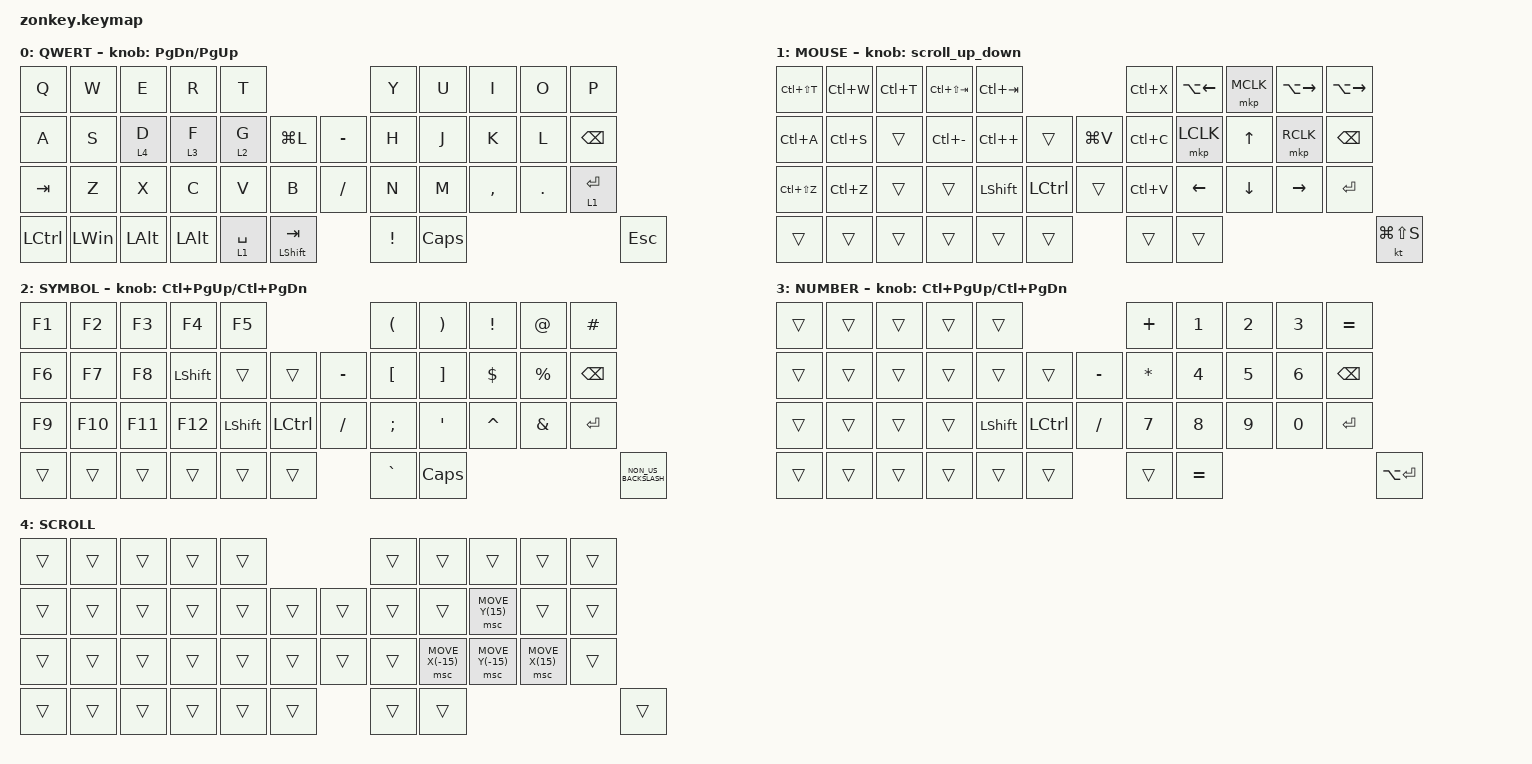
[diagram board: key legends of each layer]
#include <physical_layouts.dtsi>
#include <behaviors.dtsi>
#include <dt-bindings/zmk/keys.h>
#include <dt-bindings/zmk/pointing.h>

#define ZMK_POINTING_DEFAULT_SCRL_VAL 100
#define DFb 0
#define JIS 1
#define BT 4
#define MOUSE 6
#define JP_DQUOTE       AT                // "
#define JP_AMPERSAND    CARET             // &
#define JP_QUOTE        AMPERSAND         // '
#define JP_EQUAL        UNDER             // =
#define JP_CARET        EQUAL             // ^
#define JP_YEN          0x89              // ¥
#define JP_PLUS         COLON             // +
#define JP_TILDE        PLUS              // ~
#define JP_PIPE         LS(0x89)          // |
#define JP_AT           LEFT_BRACKET      // @
#define JP_COLON        SINGLE_QUOTE      // :
#define JP_ASTERISK     DOUBLE_QUOTES     // *
#define JP_BACKQUOTE    LEFT_BRACE        // `
#define JP_UNDERSCORE   LS(0x87)          // _
#define JP_LBRACKET     RIGHT_BRACKET     // [
#define JP_RBRACKET     BACKSLASH         // ]
#define JP_LPAREN       ASTERISK          // (
#define JP_RPAREN       LEFT_PARENTHESIS  // )
#define JP_LBRACE       RIGHT_BRACE       // {
#define JP_RBRACE       PIPE              // }
#define JP_KANA         LANGUAGE_1        // かな
#define JP_EISU         LANGUAGE_2        // 英数
#define JP_HANZEN       GRAVE             // 半角/全角
#define JP_BSLH  INT1         // (backslash)

&mt {
    flavor = "balanced";
    quick-tap-ms = <0>;
};

/ {
    combos { compatible = "zmk,combos"; };

    macros {
        to_layer_0: to_layer_0 {
            compatible = "zmk,behavior-macro-one-param";
            #binding-cells = <1>;
            bindings = <&to 0 &macro_param_1to1 &kp MACRO_PLACEHOLDER>;
            label = "TO_LAYER_0";
        };
    };

    behaviors {
        lt_to_layer_0: lt_to_layer_0 {
            compatible = "zmk,behavior-hold-tap";
            label = "LAYER_TAP_TO_0";
            bindings = <&mo>, <&to_layer_0>;

            #binding-cells = <2>;
            tapping-term-ms = <200>;
        };

        mo2: mo2 {
            compatible = "zmk,behavior-mod-morph";
            #binding-cells = <0>;
            bindings = <&kp N2>, <&kp AT>;

            mods = <(MOD_LSFT|MOD_RSFT)>;
        };

        mo6: mo6 {
            compatible = "zmk,behavior-mod-morph";
            #binding-cells = <0>;
            bindings = <&kp N6>, <&kp CARET>;

            mods = <(MOD_LSFT|MOD_RSFT)>;
        };

        mo7: mo7 {
            compatible = "zmk,behavior-mod-morph";
            #binding-cells = <0>;
            bindings = <&kp N7>, <&kp AMPS>;

            mods = <(MOD_LSFT|MOD_RSFT)>;
        };

        mo8: mo8 {
            compatible = "zmk,behavior-mod-morph";
            #binding-cells = <0>;
            bindings = <&kp N8>, <&kp ASTRK>;

            mods = <(MOD_LSFT|MOD_RSFT)>;
        };

        mo9: mo9 {
            compatible = "zmk,behavior-mod-morph";
            #binding-cells = <0>;
            bindings = <&kp N9>, <&kp LPAR>;

            mods = <(MOD_LSFT|MOD_RSFT)>;
        };

        mo0: mo0 {
            compatible = "zmk,behavior-mod-morph";
            #binding-cells = <0>;
            bindings = <&kp N0>, <&kp LS(N9)>;

            mods = <(MOD_LSFT|MOD_RSFT)>;
        };

        moA: moA {
            compatible = "zmk,behavior-mod-morph";
            #binding-cells = <0>;
            bindings = <&kp MINUS>, <&kp UNDERSCORE>;

            mods = <(MOD_LSFT|MOD_RSFT)>;
        };

        moB: moB {
            compatible = "zmk,behavior-mod-morph";
            #binding-cells = <0>;
            bindings = <&kp EQUAL>, <&kp PLUS>;

            mods = <(MOD_LSFT|MOD_RSFT)>;
        };

        moC: moC {
            compatible = "zmk,behavior-mod-morph";
            #binding-cells = <0>;
            bindings = <&kp INT3>, <&kp JP_PIPE>;

            mods = <(MOD_LSFT|MOD_RSFT)>;
        };

        moD: moD {
            compatible = "zmk,behavior-mod-morph";
            #binding-cells = <0>;
            bindings = <&kp LBKT>, <&kp LBRC>;

            mods = <(MOD_LSFT|MOD_RSFT)>;
        };

        moE: moE {
            compatible = "zmk,behavior-mod-morph";
            #binding-cells = <0>;
            bindings = <&kp RBKT>, <&kp RBRC>;

            mods = <(MOD_LSFT|MOD_RSFT)>;
        };

        moF: moF {
            compatible = "zmk,behavior-mod-morph";
            #binding-cells = <0>;
            bindings = <&kp SEMI>, <&kp KP_PLUS>;

            mods = <(MOD_LSFT|MOD_RSFT)>;
        };

        moG: moG {
            compatible = "zmk,behavior-mod-morph";
            #binding-cells = <0>;
            bindings = <&kp APOSTROPHE>, <&kp DQT>;

            mods = <(MOD_LSFT|MOD_RSFT)>;
        };

        moH: moH {
            compatible = "zmk,behavior-mod-morph";
            #binding-cells = <0>;
            bindings = <&kp BACKSLASH>, <&kp TILDE2>;

            mods = <(MOD_LSFT|MOD_RSFT)>;
        };

        moI: moI {
            compatible = "zmk,behavior-mod-morph";
            #binding-cells = <0>;
            bindings = <&kp JP_BSLH>, <&kp JP_UNDERSCORE>;

            mods = <(MOD_LSFT|MOD_RSFT)>;
        };

        scroll_up_down: behavior_sensor_rotate_mouse_wheel_up_down {
            compatible = "zmk,behavior-sensor-rotate";
            #sensor-binding-cells = <0>;
            bindings = <&msc SCRL_UP>, <&msc SCRL_DOWN>;

            tap-ms = <20>;
        };
    };

    keymap {
        compatible = "zmk,keymap";

        QWERT {
            bindings = <
&kp Q      &kp W         &kp E         &kp R         &kp T                                         &kp Y            &kp U         &kp I      &kp O    &kp P
&kp A      &kp S         &lt 4 D       &lt 3 F       &lt 2 G      &kp LG(L)             &kp MINUS  &kp H            &kp J         &kp K      &kp L    &kp BACKSPACE
&kp TAB    &kp Z         &kp X         &kp C         &kp V        &kp B                 &kp SLASH  &kp N            &kp M         &kp COMMA  &kp DOT  &lt 1 ENTER
&kp LCTRL  &kp LEFT_WIN  &kp LEFT_ALT  &kp LEFT_ALT  &lt 1 SPACE  &mt LEFT_SHIFT TAB               &kp EXCLAMATION  &kp CAPSLOCK                                     &kp ESCAPE
            >;

            sensor-bindings = <&inc_dec_kp PAGE_DOWN PAGE_UP>;
        };

        MOUSE {
            bindings = <
&kp LC(LS(T))  &kp LC(W)  &kp LC(T)  &kp LC(LS(TAB))  &kp LC(TAB)                             &kp LC(X)  &kp LA(LEFT_ARROW)  &mkp MCLK       &kp LA(RIGHT_ARROW)  &kp LA(RIGHT)
&kp LC(A)      &kp LC(S)  &trans     &kp LC(MINUS)    &kp LC(PLUS)    &trans       &kp LG(V)  &kp LC(C)  &mkp LCLK           &kp UP_ARROW    &mkp RCLK            &kp BACKSPACE
&kp LC(LS(Z))  &kp LC(Z)  &trans     &trans           &kp LEFT_SHIFT  &kp LCTRL    &trans     &kp LC(V)  &kp LEFT_ARROW      &kp DOWN_ARROW  &kp RIGHT_ARROW      &kp ENTER
&trans         &trans     &trans     &trans           &trans          &trans                  &trans     &trans                                                                  &kt LG(LS(S))
            >;

            sensor-bindings = <&scroll_up_down>;
        };

        SYMBOL {
            bindings = <
&kp F1  &kp F2   &kp F3   &kp F4          &kp F5                                  &kp LEFT_PARENTHESIS  &kp RIGHT_PARENTHESIS  &kp EXCLAMATION  &kp AT_SIGN    &kp HASH
&kp F6  &kp F7   &kp F8   &kp LEFT_SHIFT  &trans          &trans       &kp MINUS  &kp LEFT_BRACKET      &kp RIGHT_BRACKET      &kp DOLLAR       &kp PERCENT    &kp BACKSPACE
&kp F9  &kp F10  &kp F11  &kp F12         &kp LEFT_SHIFT  &kp LCTRL    &kp SLASH  &kp SEMICOLON         &kp SINGLE_QUOTE       &kp CARET        &kp AMPERSAND  &kp ENTER
&trans  &trans   &trans   &trans          &trans          &trans                  &kp GRAVE             &kp CAPSLOCK                                                          &kp NON_US_BACKSLASH
            >;

            sensor-bindings = <&inc_dec_kp LC(PAGE_UP) LC(PAGE_DOWN)>;
        };

        NUMBER {
            bindings = <
&trans  &trans  &trans  &trans  &trans                                  &kp PLUS      &kp NUMBER_1  &kp NUMBER_2  &kp NUMBER_3  &kp EQUAL
&trans  &trans  &trans  &trans  &trans          &trans       &kp MINUS  &kp ASTERISK  &kp NUMBER_4  &kp NUMBER_5  &kp NUMBER_6  &kp BACKSPACE
&trans  &trans  &trans  &trans  &kp LEFT_SHIFT  &kp LCTRL    &kp SLASH  &kp NUMBER_7  &kp NUMBER_8  &kp NUMBER_9  &kp NUMBER_0  &kp ENTER
&trans  &trans  &trans  &trans  &trans          &trans                  &trans        &kp EQUAL                                                &kp LA(ENTER)
            >;

            sensor-bindings = <&inc_dec_kp LC(PAGE_UP) LC(PAGE_DOWN)>;
        };

        SCROLL {
            bindings = <
&trans  &trans  &trans  &trans  &trans                    &trans  &trans            &trans            &trans           &trans
&trans  &trans  &trans  &trans  &trans  &trans    &trans  &trans  &trans            &msc MOVE_Y(15)   &trans           &trans
&trans  &trans  &trans  &trans  &trans  &trans    &trans  &trans  &msc MOVE_X(-15)  &msc MOVE_Y(-15)  &msc MOVE_X(15)  &trans
&trans  &trans  &trans  &trans  &trans  &trans            &trans  &trans                                                       &trans
            >;
        };
    };
};
